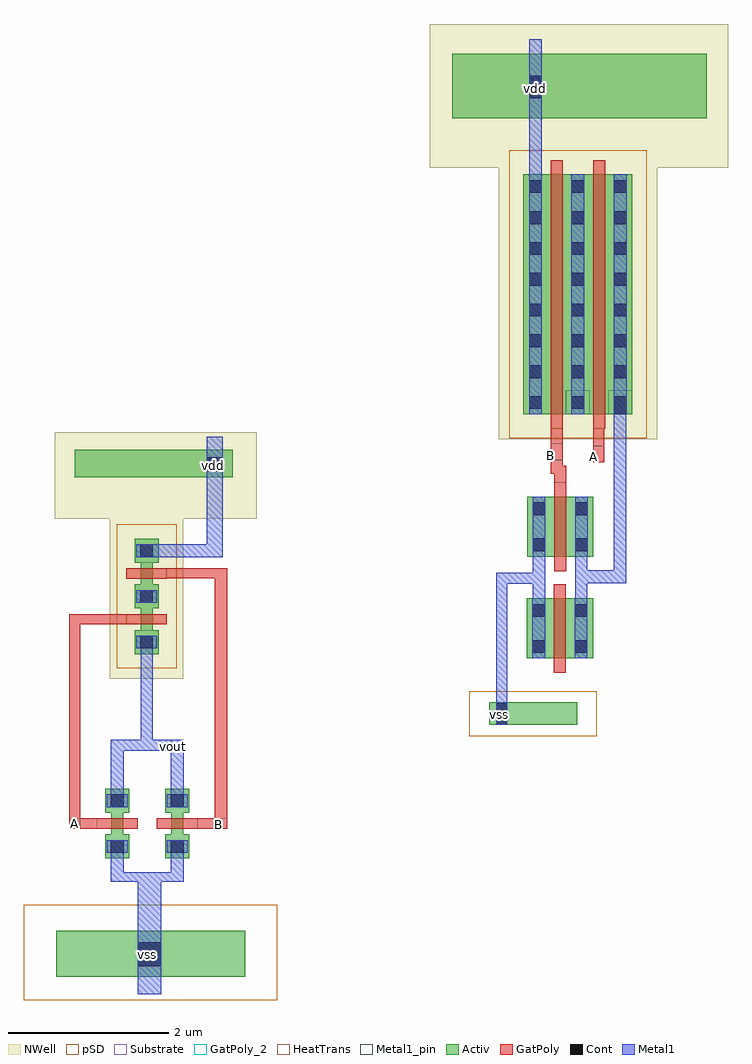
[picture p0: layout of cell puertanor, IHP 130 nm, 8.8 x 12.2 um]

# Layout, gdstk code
from math import pi, radians
import gdstk
lib = gdstk.Library(unit=1e-6, precision=5e-09)
def R(c, l, rs):  # rectangles x0, y0, x1, y1
    for r in rs: c.add(gdstk.rectangle(r[:2], r[2:], *l))
def A(c, l, x, y, w, h, nx, ny, dx, dy):  # array of equal rectangles
    R(c, l, [(x+i*dx, y+j*dy, x+i*dx+w, y+j*dy+h) for i in range(nx) for j in range(ny)])
Activ = (1, 0)
GatPoly = (5, 0)
GatPoly_2 = (5, 2)
Cont = (6, 0)
Metal1 = (8, 0)
Metal1_pin = (8, 2)
pSD = (14, 0)
NWell = (31, 0)
Substrate = (40, 0)
HeatTrans = (51, 0)

pmos = lib.new_cell('pmos')
R(pmos, Activ, [(0,0,0.3,0.3), (0.57,0,0.87,0.3), (0,0.075,0.87,0.225)])
R(pmos, GatPoly, [(0.37,-0.105,0.5,0.405), (0.37,-0.105,0.5,0.405)])
R(pmos, Cont, [(0.07,0.07,0.23,0.23), (0.64,0.07,0.8,0.23)])
R(pmos, Metal1, [(0.07,0.02,0.23,0.28), (0.07,0.02,0.23,0.28), (0.64,0.02,0.8,0.28), (0.64,0.02,0.8,0.28)])
R(pmos, pSD, [(-0.18,-0.225,1.05,0.525)])
R(pmos, NWell, [(-0.31,-0.31,1.18,0.61)])
R(pmos, Substrate, [(0.57,0,0.87,0.3)])
R(pmos, HeatTrans, [(0.37,-0.105,0.5,0.405)])
pmos.add(gdstk.Label('pmos', (0.435,0.15), layer=63, texttype=0))
pmos.add(gdstk.Label('pmos', (0.435,0.15), layer=51, texttype=0))

nmos = lib.new_cell('nmos')
R(nmos, Activ, [(0,0,0.3,0.3), (0.57,0,0.87,0.3), (0,0.075,0.87,0.225)])
R(nmos, GatPoly, [(0.37,-0.105,0.5,0.405)])
R(nmos, GatPoly_2, [(0.37,-0.105,0.5,0.405)])
R(nmos, Cont, [(0.07,0.07,0.23,0.23), (0.64,0.07,0.8,0.23)])
R(nmos, Metal1, [(0.07,0.02,0.23,0.28), (0.64,0.02,0.8,0.28)])
R(nmos, Metal1_pin, [(0.07,0.02,0.23,0.28), (0.64,0.02,0.8,0.28)])
R(nmos, HeatTrans, [(0.37,-0.105,0.5,0.405)])
nmos.add(gdstk.Label('nmos', (0.435,0.15), layer=63, texttype=0))
nmos.add(gdstk.Label('nmos', (0.435,0.15), layer=51, texttype=0))

pmos_1 = lib.new_cell('pmos$1')
R(pmos_1, Activ, [(0,0,0.3,0.3), (0,0,0.83,3), (0.53,0,0.83,0.3)])
R(pmos_1, GatPoly, [(0.34,-0.18,0.49,3.18), (0.34,-0.18,0.49,3.18)])
A(pmos_1, Cont, 0.07, 0.07, 0.16, 0.16, 1, 7, 0, 0.385)
A(pmos_1, Cont, 0.6, 0.07, 0.16, 0.16, 1, 7, 0, 0.385)
R(pmos_1, Cont, [(0.07,2.77,0.23,2.93), (0.6,2.77,0.76,2.93)])
R(pmos_1, Metal1, [(0.07,0,0.23,3), (0.07,0,0.23,3), (0.6,0,0.76,3), (0.6,0,0.76,3)])
R(pmos_1, pSD, [(-0.18,-0.3,1.01,3.3)])
R(pmos_1, NWell, [(-0.31,-0.31,1.14,3.31)])
R(pmos_1, Substrate, [(0.53,0,0.83,0.3)])
R(pmos_1, HeatTrans, [(0.34,-0.18,0.49,3.18)])
pmos_1.add(gdstk.Label('pmos', (0.415,1.5), layer=63, texttype=0))
pmos_1.add(gdstk.Label('pmos', (0.415,1.5), layer=51, texttype=0))

nmos_1 = lib.new_cell('nmos$1')
R(nmos_1, Activ, [(0,0,0.3,0.3), (0,0,0.83,0.75), (0.53,0,0.83,0.3)])
R(nmos_1, GatPoly, [(0.34,-0.18,0.49,0.93)])
R(nmos_1, GatPoly_2, [(0.34,-0.18,0.49,0.93)])
R(nmos_1, Cont, [(0.07,0.07,0.23,0.23), (0.6,0.07,0.76,0.23), (0.07,0.52,0.23,0.68), (0.6,0.52,0.76,0.68)])
R(nmos_1, Metal1, [(0.07,0,0.23,0.75), (0.6,0,0.76,0.75)])
R(nmos_1, Metal1_pin, [(0.07,0,0.23,0.75), (0.6,0,0.76,0.75)])
R(nmos_1, HeatTrans, [(0.34,-0.18,0.49,0.93)])
nmos_1.add(gdstk.Label('nmos', (0.415,0.375), layer=63, texttype=0))
nmos_1.add(gdstk.Label('nmos', (0.415,0.375), layer=51, texttype=0))

puertanor = lib.new_cell('puertanor')
R(puertanor, Activ, [(2.07,-0.245,4.435,0.33), (7.48,2.905,8.585,3.185), (2.3,6,4.28,6.345), (7.02,10.49,10.2,11.295)])
R(puertanor, GatPoly, [(2.235,1.605,2.73,1.735), (2.235,1.605,2.37,4.28), (3.685,1.605,4.21,1.735), (4.05,1.605,4.21,4.86), (2.235,4.16,3.09,4.29), (3.345,4.735,4.21,4.86), (8.295,5.935,8.445,6.145), (8.25,6.045,8.4,6.21), (8.25,6.045,8.445,6.145), (8.78,6.19,8.92,7.01), (8.25,6.21,8.4,7.035)])
R(puertanor, GatPoly_2, [(2.235,1.605,2.37,1.735), (4.05,1.605,4.21,1.735), (8.78,6.19,8.92,6.395), (8.25,6.21,8.4,6.425)])
R(puertanor, Cont, [(3.09,-0.115,3.385,0.185), (2.755,1.305,2.915,1.465), (3.505,1.305,3.665,1.465), (2.755,1.875,2.915,2.035), (3.505,1.875,3.665,2.035), (7.57,2.905,7.705,3.18), (3.125,3.86,3.275,4.02), (3.955,6.075,4.155,6.25), (9.04,6.785,9.2,6.93), (7.98,10.735,8.14,11.02)])
R(puertanor, Metal1, [(3.09,-0.465,3.385,1.065), (2.755,0.945,3.665,1.065), (2.755,0.945,2.915,1.465), (3.505,0.945,3.665,1.465), (2.755,1.875,2.915,2.72), (3.505,1.875,3.665,2.72), (2.755,2.58,3.665,2.72), (3.125,2.58,3.275,4.02), (7.57,2.905,7.705,4.805), (8.555,4.06,8.71,5.43), (8.025,4.11,8.18,5.38), (7.57,4.67,8.18,4.805), (8.555,4.675,9.195,4.835), (9.04,4.675,9.195,6.935), (3.3,5,4.155,5.16), (3.955,5,4.155,6.505), (7.98,9.635,8.14,11.475)])
R(puertanor, Metal1_pin, [(3.505,2.58,3.665,2.72), (7.57,2.905,7.705,3.185), (3.955,6.075,4.155,6.25), (7.98,10.75,8.14,10.985)])
R(puertanor, pSD, [(1.665,-0.535,4.835,0.655), (7.235,2.76,8.825,3.325)])
R(puertanor, NWell, [(2.05,5.48,4.575,6.565), (6.74,9.87,10.47,11.665)])
puertanor.add(gdstk.Reference(pmos, (3.35,4.36), rotation=pi/2))
puertanor.add(gdstk.Reference(pmos, (3.05,4.66), rotation=3*pi/2))
puertanor.add(gdstk.Reference(nmos, (3.735,1.235), rotation=pi/2))
puertanor.add(gdstk.Reference(nmos, (2.985,1.235), rotation=pi/2))
puertanor.add(gdstk.Reference(pmos_1, (7.91,6.785)))
puertanor.add(gdstk.Reference(nmos_1, (7.95,3.735)))
puertanor.add(gdstk.Reference(nmos_1, (7.955,5.005)))
puertanor.add(gdstk.Reference(pmos_1, (8.44,6.785)))
puertanor.add(gdstk.Label('vss', (3.215,0.035), layer=6, texttype=0))
puertanor.add(gdstk.Label('vdd', (4.04,6.15), layer=8, texttype=2))
puertanor.add(gdstk.Label('vss', (7.605,3.04), layer=8, texttype=2))
puertanor.add(gdstk.Label('vdd', (8.06,10.865), layer=8, texttype=2))
puertanor.add(gdstk.Label('vout', (3.535,2.64), layer=8, texttype=2))
puertanor.add(gdstk.Label('B', (8.25,6.27), layer=5, texttype=2))
puertanor.add(gdstk.Label('A', (8.78,6.255), layer=5, texttype=2))
puertanor.add(gdstk.Label('B', (4.105,1.66), layer=5, texttype=2))
puertanor.add(gdstk.Label('A', (2.3,1.67), layer=5, texttype=2))

lib.write_gds('puertanor.gds')
